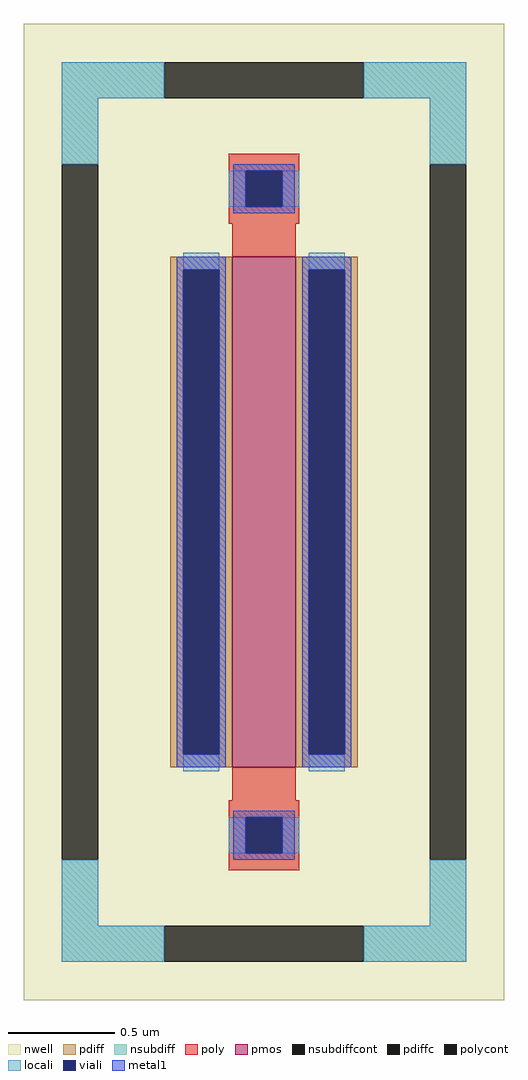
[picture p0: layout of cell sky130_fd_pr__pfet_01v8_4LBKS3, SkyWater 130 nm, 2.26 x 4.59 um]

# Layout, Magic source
magic
tech sky130A
magscale 1 2
<< nwell >>
rect -226 -459 226 459
<< pmos >>
rect -30 -240 30 240
<< pdiff >>
rect -88 228 -30 240
rect -88 -228 -76 228
rect -42 -228 -30 228
rect -88 -240 -30 -228
rect 30 228 88 240
rect 30 -228 42 228
rect 76 -228 88 228
rect 30 -240 88 -228
<< pdiffc >>
rect -76 -228 -42 228
rect 42 -228 76 228
<< nsubdiff >>
rect -190 389 -94 423
rect 94 389 190 423
rect -190 327 -156 389
rect 156 327 190 389
rect -190 -389 -156 -327
rect 156 -389 190 -327
rect -190 -423 -94 -389
rect 94 -423 190 -389
<< nsubdiffcont >>
rect -94 389 94 423
rect -190 -327 -156 327
rect 156 -327 190 327
rect -94 -423 94 -389
<< poly >>
rect -33 321 33 337
rect -33 287 -17 321
rect 17 287 33 321
rect -33 271 33 287
rect -30 240 30 271
rect -30 -271 30 -240
rect -33 -287 33 -271
rect -33 -321 -17 -287
rect 17 -321 33 -287
rect -33 -337 33 -321
<< polycont >>
rect -17 287 17 321
rect -17 -321 17 -287
<< locali >>
rect -190 389 -94 423
rect 94 389 190 423
rect -190 327 -156 389
rect 156 327 190 389
rect -33 287 -17 321
rect 17 287 33 321
rect -76 228 -42 244
rect -76 -244 -42 -228
rect 42 228 76 244
rect 42 -244 76 -228
rect -33 -321 -17 -287
rect 17 -321 33 -287
rect -190 -389 -156 -327
rect 156 -389 190 -327
rect -190 -423 -94 -389
rect 94 -423 190 -389
<< viali >>
rect -17 287 17 321
rect -76 -228 -42 228
rect 42 -228 76 228
rect -17 -321 17 -287
<< metal1 >>
rect -29 321 29 327
rect -29 287 -17 321
rect 17 287 29 321
rect -29 281 29 287
rect -82 228 -36 240
rect -82 -228 -76 228
rect -42 -228 -36 228
rect -82 -240 -36 -228
rect 36 228 82 240
rect 36 -228 42 228
rect 76 -228 82 228
rect 36 -240 82 -228
rect -29 -287 29 -281
rect -29 -321 -17 -287
rect 17 -321 29 -287
rect -29 -327 29 -321
<< properties >>
string FIXED_BBOX -173 -406 173 406
string gencell sky130_fd_pr__pfet_01v8
string library sky130
string parameters w 2.4 l 0.30 m 1 nf 1 diffcov 100 polycov 100 guard 1 glc 1 grc 1 gtc 1 gbc 1 tbcov 100 rlcov 100 topc 1 botc 1 poverlap 0 doverlap 1 lmin 0.15 wmin 0.42 compatible {sky130_fd_pr__pfet_01v8  sky130_fd_pr__pfet_01v8_lvt sky130_fd_pr__pfet_01v8_hvt  sky130_fd_pr__pfet_g5v0d10v5} full_metal 1 viasrc 100 viadrn 100 viagate 100 viagb 0 viagr 0 viagl 0 viagt 0
<< end >>
